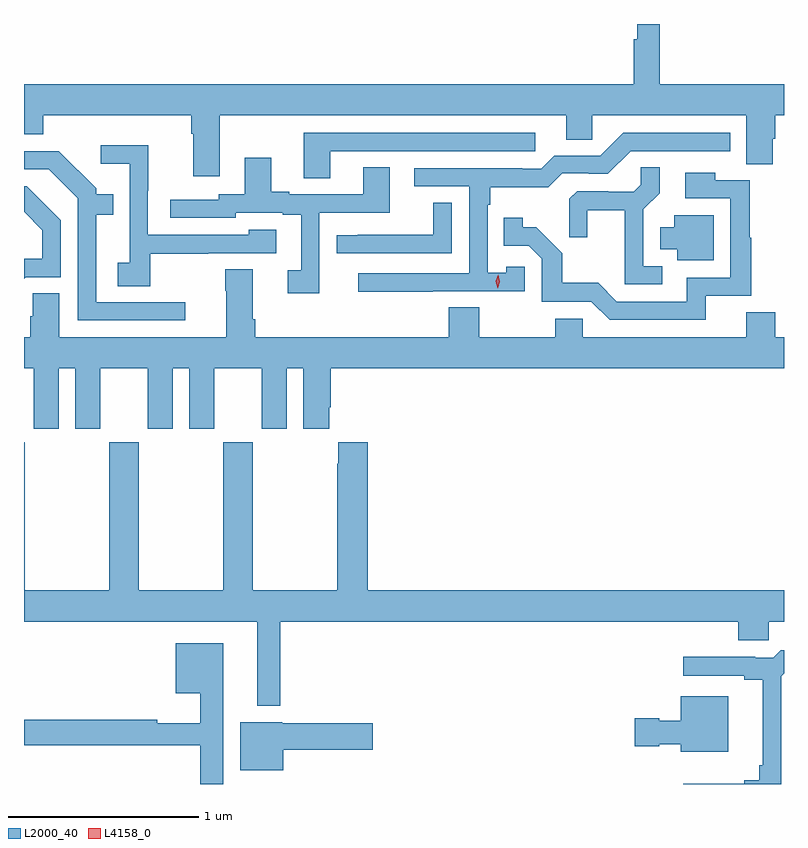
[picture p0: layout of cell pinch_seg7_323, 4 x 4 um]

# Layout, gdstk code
import gdstk
lib = gdstk.Library(unit=1e-6, precision=1e-09)
def P(c, l, *ps):  # polygons
    for p in ps: c.add(gdstk.Polygon(p, *l))
L2000_40 = (2000, 40)
L4158_0 = (4158, 0)

pinch_seg7_323 = lib.new_cell('pinch_seg7_323')
P(pinch_seg7_323, L2000_40, [(448.645,1057.892),(450.467,1057.892),(450.467,1057.765),(450.606,1057.765),(450.606,1057.892),(451.415,1057.892),(451.415,1057.636),(451.555,1057.636),(451.555,1057.77),(451.568,1057.77),(451.568,1057.892),(451.614,1057.892),(451.614,1058.056),(450.959,1058.056),(450.959,1058.373),(450.842,1058.373),(450.842,1058.292),(450.823,1058.292),(450.823,1058.056),(447.614,1058.056),(447.614,1057.793),(447.716,1057.793),(447.716,1057.892),(448.493,1057.892),(448.493,1057.796),(448.505,1057.796),(448.505,1057.572),(448.645,1057.572)],
  [(449.765,1056.966),(450.249,1056.966),(450.249,1057.095),(450.153,1057.095),(450.153,1057.063),(450.054,1057.063),(450.054,1057.421),(450.067,1057.421),(450.067,1057.514),(450.374,1057.514),(450.447,1057.587),(450.586,1057.587),(450.586,1057.584),(450.687,1057.584),(450.807,1057.704),(451.33,1057.704),(451.33,1057.8),(450.768,1057.8),(450.648,1057.68),(450.405,1057.68),(450.336,1057.611),(450.236,1057.611),(450.236,1057.614),(449.667,1057.614),(449.667,1057.518),(449.958,1057.518),(449.958,1057.062),(449.373,1057.062),(449.373,1056.964),(449.765,1056.964)],
  [(449.227,1057.704),(450.304,1057.704),(450.304,1057.8),(449.087,1057.8),(449.087,1057.561),(449.227,1057.561)],
  [(448.279,1057.165),(448.583,1057.165),(448.583,1057.167),(448.942,1057.167),(448.942,1057.291),(448.797,1057.291),(448.797,1057.263),(448.266,1057.263),(448.266,1057.496),(448.269,1057.496),(448.269,1057.735),(448.017,1057.735),(448.017,1057.637),(448.17,1057.637),(448.17,1057.116),(448.107,1057.116),(448.107,1056.994),(448.279,1056.994)],
  [(448.462,1056.909),(447.994,1056.909),(447.994,1057.368),(448.085,1057.368),(448.085,1057.477),(447.993,1057.477),(447.993,1057.509),(447.798,1057.704),(447.614,1057.704),(447.614,1057.608),(447.744,1057.608),(447.897,1057.455),(447.897,1056.813),(448.462,1056.813)],
  [(449.169,1057.38),(449.539,1057.38),(449.539,1057.619),(449.399,1057.619),(449.399,1057.476),(449.011,1057.476),(449.011,1057.489),(448.915,1057.489),(448.915,1057.669),(448.775,1057.669),(448.775,1057.476),(448.638,1057.476),(448.638,1057.449),(448.383,1057.449),(448.383,1057.353),(448.728,1057.353),(448.728,1057.38),(448.976,1057.38),(448.976,1057.368),(449.072,1057.368),(449.072,1057.077),(449.001,1057.077),(449.001,1056.957),(449.169,1056.957)],
  [(450.973,1057.098),(450.873,1057.098),(450.873,1057.397),(450.959,1057.483),(450.959,1057.619),(450.861,1057.619),(450.861,1057.528),(450.824,1057.491),(450.69,1057.491),(450.69,1057.494),(450.525,1057.494),(450.484,1057.453),(450.484,1057.251),(450.578,1057.251),(450.578,1057.394),(450.776,1057.394),(450.776,1057.002),(450.973,1057.002)],
  [(451.202,1056.942),(451.441,1056.942),(451.441,1057.247),(451.433,1057.247),(451.433,1057.551),(451.251,1057.551),(451.251,1057.591),(451.095,1057.591),(451.095,1057.455),(451.332,1057.455),(451.332,1057.038),(451.103,1057.038),(451.103,1056.912),(450.735,1056.912),(450.637,1057.011),(450.448,1057.011),(450.448,1057.166),(450.31,1057.304),(450.24,1057.304),(450.24,1057.354),(450.139,1057.354),(450.139,1057.206),(450.27,1057.206),(450.339,1057.137),(450.339,1056.912),(450.6,1056.912),(450.696,1056.816),(451.202,1056.816)],
  [(447.624,1057.041),(447.807,1057.041),(447.807,1057.339),(447.628,1057.518),(447.614,1057.518),(447.614,1057.384),(447.71,1057.288),(447.71,1057.138),(447.614,1057.138),(447.614,1057.031)],
  [(449.865,1057.433),(449.767,1057.433),(449.767,1057.263),(449.371,1057.263),(449.371,1057.262),(449.259,1057.262),(449.259,1057.167),(449.865,1057.167)],
  [(451.243,1057.366),(451.037,1057.366),(451.037,1057.303),(450.962,1057.303),(450.962,1057.187),(451.052,1057.187),(451.052,1057.13),(451.243,1057.13)],
  [(447.661,1056.834),(447.647,1056.834),(447.647,1056.724),(447.614,1056.724),(447.614,1056.56),(447.665,1056.56),(447.665,1056.243),(447.796,1056.243),(447.796,1056.56),(447.884,1056.56),(447.884,1056.243),(448.015,1056.243),(448.015,1056.56),(448.265,1056.56),(448.265,1056.243),(448.396,1056.243),(448.396,1056.56),(448.484,1056.56),(448.484,1056.243),(448.615,1056.243),(448.615,1056.56),(448.865,1056.56),(448.865,1056.243),(448.996,1056.243),(448.996,1056.56),(449.084,1056.56),(449.084,1056.243),(449.221,1056.243),(449.221,1056.355),(449.228,1056.355),(449.228,1056.56),(451.614,1056.56),(451.614,1056.724),(451.568,1056.724),(451.568,1056.857),(451.415,1056.857),(451.415,1056.724),(450.555,1056.724),(450.555,1056.822),(450.409,1056.822),(450.409,1056.724),(450.009,1056.724),(450.009,1056.881),(449.849,1056.881),(449.849,1056.724),(448.832,1056.724),(448.832,1056.82),(448.819,1056.82),(448.819,1057.081),(448.672,1057.081),(448.672,1056.968),(448.679,1056.968),(448.679,1056.724),(447.799,1056.724),(447.799,1056.956),(447.661,1056.956)],
  [(451.373,1055.13),(451.533,1055.13),(451.533,1055.228),(451.614,1055.228),(451.614,1055.392),(449.423,1055.392),(449.423,1056.172),(449.267,1056.172),(449.267,1056.059),(449.263,1056.059),(449.263,1055.392),(448.818,1055.392),(448.818,1056.172),(448.663,1056.172),(448.663,1055.392),(448.218,1055.392),(448.218,1056.172),(448.063,1056.172),(448.063,1055.392),(447.618,1055.392),(447.618,1056.172),(447.614,1056.172),(447.614,1055.228),(448.841,1055.228),(448.841,1054.784),(448.963,1054.784),(448.963,1055.228),(451.373,1055.228)],
  [(448.663,1055.113),(448.412,1055.113),(448.412,1054.85),(448.542,1054.85),(448.542,1054.693),(448.316,1054.693),(448.316,1054.712),(447.614,1054.712),(447.614,1054.576),(448.542,1054.576),(448.542,1054.373),(448.663,1054.373)],
  [(451.599,1054.941),(451.614,1054.956),(451.614,1055.077),(451.597,1055.077),(451.557,1055.037),(451.463,1055.037),(451.463,1055.042),(451.083,1055.042),(451.083,1054.944),(451.406,1054.944),(451.406,1054.922),(451.502,1054.922),(451.502,1054.471),(451.483,1054.471),(451.483,1054.394),(451.406,1054.394),(451.406,1054.375),(451.083,1054.375),(451.083,1054.373),(451.599,1054.373)],
  [(451.321,1054.834),(451.07,1054.834),(451.07,1054.705),(450.957,1054.705),(450.957,1054.718),(450.828,1054.718),(450.828,1054.571),(450.957,1054.571),(450.957,1054.583),(451.07,1054.583),(451.07,1054.544),(451.321,1054.544)],
  [(448.978,1054.552),(449.449,1054.552),(449.449,1054.694),(448.974,1054.694),(448.974,1054.699),(448.751,1054.699),(448.751,1054.445),(448.978,1054.445)])
P(pinch_seg7_323, L4158_0, [(450.107,1056.981),(450.107,1056.981),(450.098,1057.018),(450.109,1057.053),(450.109,1057.053),(450.109,1057.053),(450.118,1057.017),(450.107,1056.981)])

lib.write_gds('pinch_seg7_323.gds')
